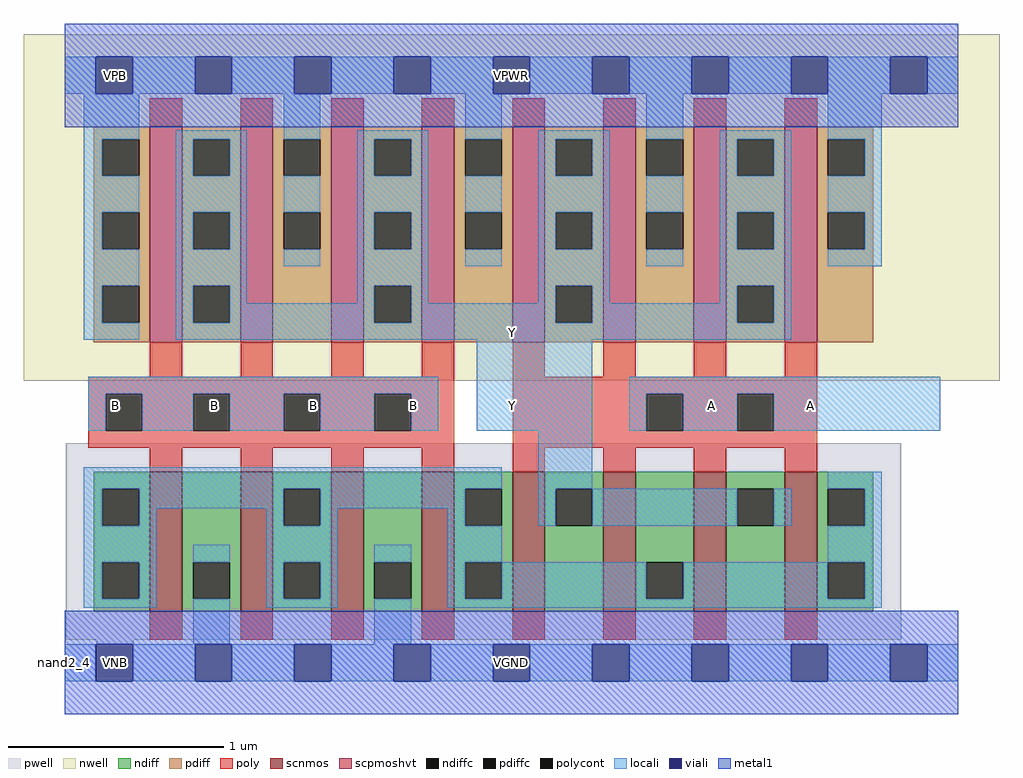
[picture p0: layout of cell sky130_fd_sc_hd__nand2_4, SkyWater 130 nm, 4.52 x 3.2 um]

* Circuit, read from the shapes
.subckt sky130_fd_sc_hd__nand2_4 A B VGND VNB VPB VPWR Y
XM1 VGND B n1 VNB sky130_fd_pr__nfet_01v8 w=0.65 l=0.15 m=4
XM2 Y A n1 VNB sky130_fd_pr__nfet_01v8 w=0.65 l=0.15 m=4
XM3 Y B VPWR VPB sky130_fd_pr__pfet_01v8_hvt w=1 l=0.15 m=4
XM4 Y A VPWR VPB sky130_fd_pr__pfet_01v8_hvt w=1 l=0.15 m=4
.ends

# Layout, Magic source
magic
tech sky130A
magscale 1 2
<< nwell >>
rect -38 261 866 582
<< pwell >>
rect 1 21 775 203
rect 30 -17 64 21
<< scnmos >>
rect 79 47 109 177
rect 163 47 193 177
rect 247 47 277 177
rect 331 47 361 177
rect 415 47 445 177
rect 499 47 529 177
rect 583 47 613 177
rect 667 47 697 177
<< scpmoshvt >>
rect 79 297 109 497
rect 163 297 193 497
rect 247 297 277 497
rect 331 297 361 497
rect 415 297 445 497
rect 499 297 529 497
rect 583 297 613 497
rect 667 297 697 497
<< ndiff >>
rect 27 161 79 177
rect 27 127 35 161
rect 69 127 79 161
rect 27 93 79 127
rect 27 59 35 93
rect 69 59 79 93
rect 27 47 79 59
rect 109 93 163 177
rect 109 59 119 93
rect 153 59 163 93
rect 109 47 163 59
rect 193 161 247 177
rect 193 127 203 161
rect 237 127 247 161
rect 193 93 247 127
rect 193 59 203 93
rect 237 59 247 93
rect 193 47 247 59
rect 277 93 331 177
rect 277 59 287 93
rect 321 59 331 93
rect 277 47 331 59
rect 361 161 415 177
rect 361 127 371 161
rect 405 127 415 161
rect 361 93 415 127
rect 361 59 371 93
rect 405 59 415 93
rect 361 47 415 59
rect 445 161 499 177
rect 445 127 455 161
rect 489 127 499 161
rect 445 47 499 127
rect 529 93 583 177
rect 529 59 539 93
rect 573 59 583 93
rect 529 47 583 59
rect 613 161 667 177
rect 613 127 623 161
rect 657 127 667 161
rect 613 47 667 127
rect 697 161 749 177
rect 697 127 707 161
rect 741 127 749 161
rect 697 93 749 127
rect 697 59 707 93
rect 741 59 749 93
rect 697 47 749 59
<< pdiff >>
rect 27 485 79 497
rect 27 451 35 485
rect 69 451 79 485
rect 27 417 79 451
rect 27 383 35 417
rect 69 383 79 417
rect 27 349 79 383
rect 27 315 35 349
rect 69 315 79 349
rect 27 297 79 315
rect 109 485 163 497
rect 109 451 119 485
rect 153 451 163 485
rect 109 417 163 451
rect 109 383 119 417
rect 153 383 163 417
rect 109 349 163 383
rect 109 315 119 349
rect 153 315 163 349
rect 109 297 163 315
rect 193 485 247 497
rect 193 451 203 485
rect 237 451 247 485
rect 193 417 247 451
rect 193 383 203 417
rect 237 383 247 417
rect 193 297 247 383
rect 277 485 331 497
rect 277 451 287 485
rect 321 451 331 485
rect 277 417 331 451
rect 277 383 287 417
rect 321 383 331 417
rect 277 349 331 383
rect 277 315 287 349
rect 321 315 331 349
rect 277 297 331 315
rect 361 485 415 497
rect 361 451 371 485
rect 405 451 415 485
rect 361 417 415 451
rect 361 383 371 417
rect 405 383 415 417
rect 361 297 415 383
rect 445 485 499 497
rect 445 451 455 485
rect 489 451 499 485
rect 445 417 499 451
rect 445 383 455 417
rect 489 383 499 417
rect 445 349 499 383
rect 445 315 455 349
rect 489 315 499 349
rect 445 297 499 315
rect 529 485 583 497
rect 529 451 539 485
rect 573 451 583 485
rect 529 417 583 451
rect 529 383 539 417
rect 573 383 583 417
rect 529 297 583 383
rect 613 485 667 497
rect 613 451 623 485
rect 657 451 667 485
rect 613 417 667 451
rect 613 383 623 417
rect 657 383 667 417
rect 613 349 667 383
rect 613 315 623 349
rect 657 315 667 349
rect 613 297 667 315
rect 697 485 749 497
rect 697 451 707 485
rect 741 451 749 485
rect 697 417 749 451
rect 697 383 707 417
rect 741 383 749 417
rect 697 297 749 383
<< ndiffc >>
rect 35 127 69 161
rect 35 59 69 93
rect 119 59 153 93
rect 203 127 237 161
rect 203 59 237 93
rect 287 59 321 93
rect 371 127 405 161
rect 371 59 405 93
rect 455 127 489 161
rect 539 59 573 93
rect 623 127 657 161
rect 707 127 741 161
rect 707 59 741 93
<< pdiffc >>
rect 35 451 69 485
rect 35 383 69 417
rect 35 315 69 349
rect 119 451 153 485
rect 119 383 153 417
rect 119 315 153 349
rect 203 451 237 485
rect 203 383 237 417
rect 287 451 321 485
rect 287 383 321 417
rect 287 315 321 349
rect 371 451 405 485
rect 371 383 405 417
rect 455 451 489 485
rect 455 383 489 417
rect 455 315 489 349
rect 539 451 573 485
rect 539 383 573 417
rect 623 451 657 485
rect 623 383 657 417
rect 623 315 657 349
rect 707 451 741 485
rect 707 383 741 417
<< poly >>
rect 79 497 109 523
rect 163 497 193 523
rect 247 497 277 523
rect 331 497 361 523
rect 415 497 445 523
rect 499 497 529 523
rect 583 497 613 523
rect 667 497 697 523
rect 79 265 109 297
rect 163 265 193 297
rect 247 265 277 297
rect 331 265 361 297
rect 22 249 361 265
rect 22 215 38 249
rect 72 215 119 249
rect 153 215 203 249
rect 237 215 287 249
rect 321 215 361 249
rect 22 199 361 215
rect 79 177 109 199
rect 163 177 193 199
rect 247 177 277 199
rect 331 177 361 199
rect 415 265 445 297
rect 499 265 529 297
rect 583 265 613 297
rect 667 265 697 297
rect 415 249 697 265
rect 415 215 539 249
rect 573 215 623 249
rect 657 215 697 249
rect 415 199 697 215
rect 415 177 445 199
rect 499 177 529 199
rect 583 177 613 199
rect 667 177 697 199
rect 79 21 109 47
rect 163 21 193 47
rect 247 21 277 47
rect 331 21 361 47
rect 415 21 445 47
rect 499 21 529 47
rect 583 21 613 47
rect 667 21 697 47
<< polycont >>
rect 38 215 72 249
rect 119 215 153 249
rect 203 215 237 249
rect 287 215 321 249
rect 539 215 573 249
rect 623 215 657 249
<< locali >>
rect 0 527 29 561
rect 63 527 121 561
rect 155 527 213 561
rect 247 527 305 561
rect 339 527 397 561
rect 431 527 489 561
rect 523 527 581 561
rect 615 527 673 561
rect 707 527 765 561
rect 799 527 828 561
rect 18 485 69 527
rect 18 451 35 485
rect 18 417 69 451
rect 18 383 35 417
rect 18 349 69 383
rect 18 315 35 349
rect 18 299 69 315
rect 103 485 169 493
rect 103 451 119 485
rect 153 451 169 485
rect 103 417 169 451
rect 103 383 119 417
rect 153 383 169 417
rect 103 349 169 383
rect 203 485 237 527
rect 203 417 237 451
rect 203 367 237 383
rect 271 485 337 493
rect 271 451 287 485
rect 321 451 337 485
rect 271 417 337 451
rect 271 383 287 417
rect 321 383 337 417
rect 103 315 119 349
rect 153 333 169 349
rect 271 349 337 383
rect 371 485 405 527
rect 371 417 405 451
rect 371 367 405 383
rect 439 485 505 493
rect 439 451 455 485
rect 489 451 505 485
rect 439 417 505 451
rect 439 383 455 417
rect 489 383 505 417
rect 271 333 287 349
rect 153 315 287 333
rect 321 333 337 349
rect 439 349 505 383
rect 539 485 573 527
rect 539 417 573 451
rect 539 367 573 383
rect 607 485 673 493
rect 607 451 623 485
rect 657 451 673 485
rect 607 417 673 451
rect 607 383 623 417
rect 657 383 673 417
rect 439 333 455 349
rect 321 315 455 333
rect 489 333 505 349
rect 607 349 673 383
rect 707 485 757 527
rect 741 451 757 485
rect 707 417 757 451
rect 741 383 757 417
rect 707 367 757 383
rect 607 333 623 349
rect 489 315 623 333
rect 657 315 673 349
rect 103 299 673 315
rect 22 249 346 265
rect 22 215 38 249
rect 72 215 119 249
rect 153 215 203 249
rect 237 215 287 249
rect 321 215 346 249
rect 382 215 489 299
rect 523 249 811 265
rect 523 215 539 249
rect 573 215 623 249
rect 657 215 811 249
rect 18 161 405 181
rect 18 127 35 161
rect 69 143 203 161
rect 69 127 85 143
rect 18 93 85 127
rect 187 127 203 143
rect 237 143 371 161
rect 237 127 253 143
rect 18 59 35 93
rect 69 59 85 93
rect 18 51 85 59
rect 119 93 153 109
rect 119 17 153 59
rect 187 93 253 127
rect 355 127 371 143
rect 439 161 489 215
rect 707 161 757 177
rect 439 127 455 161
rect 489 127 623 161
rect 657 127 673 161
rect 741 127 757 161
rect 187 59 203 93
rect 237 59 253 93
rect 187 51 253 59
rect 287 93 321 109
rect 287 17 321 59
rect 355 93 405 127
rect 707 93 757 127
rect 355 59 371 93
rect 405 59 539 93
rect 573 59 707 93
rect 741 59 757 93
rect 355 51 757 59
rect 0 -17 29 17
rect 63 -17 121 17
rect 155 -17 213 17
rect 247 -17 305 17
rect 339 -17 397 17
rect 431 -17 489 17
rect 523 -17 581 17
rect 615 -17 673 17
rect 707 -17 765 17
rect 799 -17 828 17
<< viali >>
rect 29 527 63 561
rect 121 527 155 561
rect 213 527 247 561
rect 305 527 339 561
rect 397 527 431 561
rect 489 527 523 561
rect 581 527 615 561
rect 673 527 707 561
rect 765 527 799 561
rect 29 -17 63 17
rect 121 -17 155 17
rect 213 -17 247 17
rect 305 -17 339 17
rect 397 -17 431 17
rect 489 -17 523 17
rect 581 -17 615 17
rect 673 -17 707 17
rect 765 -17 799 17
<< metal1 >>
rect 0 561 828 592
rect 0 527 29 561
rect 63 527 121 561
rect 155 527 213 561
rect 247 527 305 561
rect 339 527 397 561
rect 431 527 489 561
rect 523 527 581 561
rect 615 527 673 561
rect 707 527 765 561
rect 799 527 828 561
rect 0 496 828 527
rect 0 17 828 48
rect 0 -17 29 17
rect 63 -17 121 17
rect 155 -17 213 17
rect 247 -17 305 17
rect 339 -17 397 17
rect 431 -17 489 17
rect 523 -17 581 17
rect 615 -17 673 17
rect 707 -17 765 17
rect 799 -17 828 17
rect 0 -48 828 -17
<< labels >>
flabel locali s 398 221 432 255 0 FreeSans 250 0 0 0 Y
port 7 nsew signal output
flabel locali s 398 289 432 323 0 FreeSans 250 0 0 0 Y
port 7 nsew signal output
flabel locali s 674 221 708 255 0 FreeSans 250 0 0 0 A
port 1 nsew signal input
flabel locali s 582 221 616 255 0 FreeSans 250 0 0 0 A
port 1 nsew signal input
flabel locali s 306 221 340 255 0 FreeSans 250 0 0 0 B
port 2 nsew signal input
flabel locali s 214 221 248 255 0 FreeSans 250 0 0 0 B
port 2 nsew signal input
flabel locali s 30 221 64 255 0 FreeSans 250 0 0 0 B
port 2 nsew signal input
flabel locali s 122 221 156 255 0 FreeSans 250 0 0 0 B
port 2 nsew signal input
flabel nwell s 30 527 64 561 0 FreeSans 200 0 0 0 VPB
port 5 nsew power bidirectional
flabel pwell s 30 -17 64 17 0 FreeSans 200 0 0 0 VNB
port 4 nsew ground bidirectional
flabel metal1 s 30 -17 64 17 0 FreeSans 200 0 0 0 VGND
port 3 nsew ground bidirectional abutment
flabel metal1 s 30 527 64 561 0 FreeSans 200 0 0 0 VPWR
port 6 nsew power bidirectional abutment
rlabel comment s 0 0 0 0 4 nand2_4
rlabel metal1 s 0 -48 828 48 1 VGND
port 3 nsew ground bidirectional abutment
rlabel metal1 s 0 496 828 592 1 VPWR
port 6 nsew power bidirectional abutment
<< properties >>
string FIXED_BBOX 0 0 828 544
string GDS_END 1725124
string GDS_FILE $PDKPATH/libs.ref/sky130_fd_sc_hd/gds/sky130_fd_sc_hd.gds
string GDS_START 1717542
string LEFclass CORE
string LEFsite unithd
string LEFsymmetry X Y R90
string path 0.000 0.000 20.700 0.000 
<< end >>
